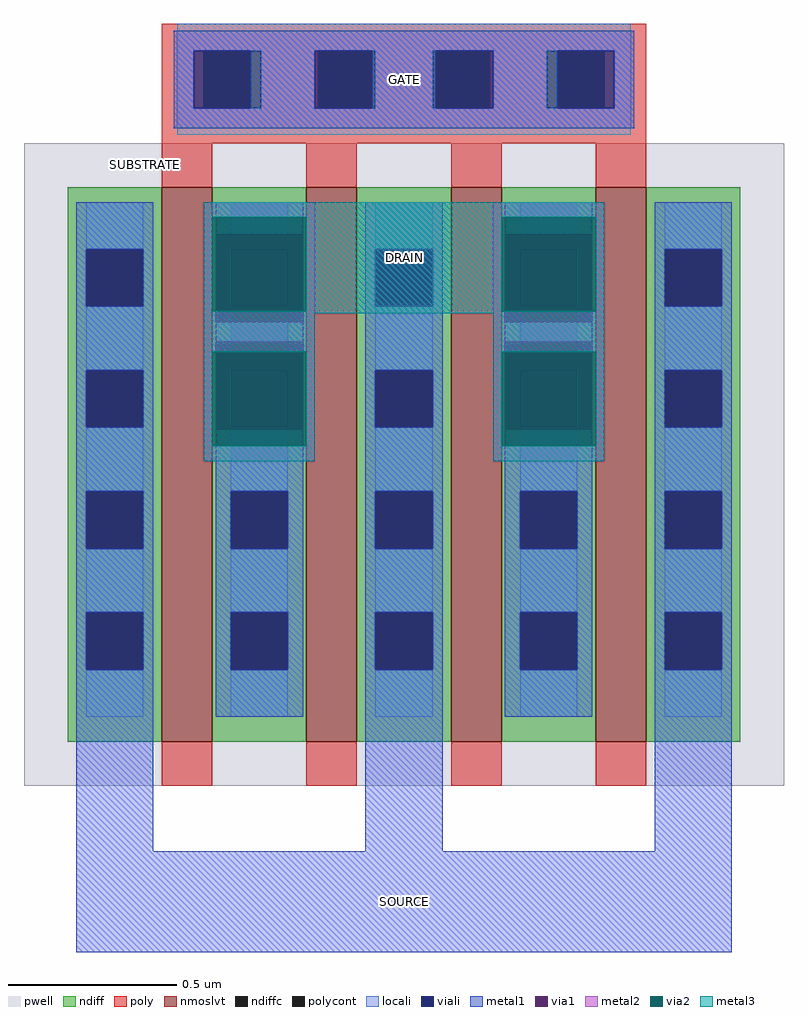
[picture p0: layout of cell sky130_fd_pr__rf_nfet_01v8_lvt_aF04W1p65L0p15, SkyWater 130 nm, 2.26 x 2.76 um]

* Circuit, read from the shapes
.subckt sky130_fd_pr__rf_nfet_01v8_lvt_aF04W1p65L0p15 DRAIN GATE SOURCE SUBSTRATE
XM1 DRAIN GATE SOURCE SUBSTRATE sky130_fd_pr__nfet_01v8_lvt w=1.65 l=0.15 m=4
.ends

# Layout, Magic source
magic
tech sky130A
magscale 1 2
<< pwell >>
rect 10 10 462 392
<< nmoslvt >>
rect 92 36 122 366
rect 178 36 208 366
rect 264 36 294 366
rect 350 36 380 366
<< ndiff >>
rect 36 329 92 366
rect 36 295 47 329
rect 81 295 92 329
rect 36 257 92 295
rect 36 223 47 257
rect 81 223 92 257
rect 36 185 92 223
rect 36 151 47 185
rect 81 151 92 185
rect 36 113 92 151
rect 36 79 47 113
rect 81 79 92 113
rect 36 36 92 79
rect 122 329 178 366
rect 122 295 133 329
rect 167 295 178 329
rect 122 257 178 295
rect 122 223 133 257
rect 167 223 178 257
rect 122 185 178 223
rect 122 151 133 185
rect 167 151 178 185
rect 122 113 178 151
rect 122 79 133 113
rect 167 79 178 113
rect 122 36 178 79
rect 208 329 264 366
rect 208 295 219 329
rect 253 295 264 329
rect 208 257 264 295
rect 208 223 219 257
rect 253 223 264 257
rect 208 185 264 223
rect 208 151 219 185
rect 253 151 264 185
rect 208 113 264 151
rect 208 79 219 113
rect 253 79 264 113
rect 208 36 264 79
rect 294 329 350 366
rect 294 295 305 329
rect 339 295 350 329
rect 294 257 350 295
rect 294 223 305 257
rect 339 223 350 257
rect 294 185 350 223
rect 294 151 305 185
rect 339 151 350 185
rect 294 113 350 151
rect 294 79 305 113
rect 339 79 350 113
rect 294 36 350 79
rect 380 329 436 366
rect 380 295 391 329
rect 425 295 436 329
rect 380 257 436 295
rect 380 223 391 257
rect 425 223 436 257
rect 380 185 436 223
rect 380 151 391 185
rect 425 151 436 185
rect 380 113 436 151
rect 380 79 391 113
rect 425 79 436 113
rect 380 36 436 79
<< ndiffc >>
rect 47 295 81 329
rect 47 223 81 257
rect 47 151 81 185
rect 47 79 81 113
rect 133 295 167 329
rect 133 223 167 257
rect 133 151 167 185
rect 133 79 167 113
rect 219 295 253 329
rect 219 223 253 257
rect 219 151 253 185
rect 219 79 253 113
rect 305 295 339 329
rect 305 223 339 257
rect 305 151 339 185
rect 305 79 339 113
rect 391 295 425 329
rect 391 223 425 257
rect 391 151 425 185
rect 391 79 425 113
<< poly >>
rect 92 447 380 463
rect 92 413 117 447
rect 151 413 185 447
rect 219 413 253 447
rect 287 413 321 447
rect 355 413 380 447
rect 92 392 380 413
rect 92 366 122 392
rect 178 366 208 392
rect 264 366 294 392
rect 350 366 380 392
rect 92 10 122 36
rect 178 10 208 36
rect 264 10 294 36
rect 350 10 380 36
<< polycont >>
rect 117 413 151 447
rect 185 413 219 447
rect 253 413 287 447
rect 321 413 355 447
<< locali >>
rect 101 447 371 463
rect 101 413 111 447
rect 151 413 183 447
rect 219 413 253 447
rect 289 413 321 447
rect 361 413 371 447
rect 101 397 371 413
rect 47 329 81 357
rect 47 257 81 295
rect 47 185 81 223
rect 47 113 81 151
rect 47 51 81 79
rect 133 329 167 357
rect 133 257 167 295
rect 133 185 167 223
rect 133 113 167 151
rect 133 51 167 79
rect 219 329 253 357
rect 219 257 253 295
rect 219 185 253 223
rect 219 113 253 151
rect 219 51 253 79
rect 305 329 339 357
rect 305 257 339 295
rect 305 185 339 223
rect 305 113 339 151
rect 305 51 339 79
rect 391 329 425 357
rect 391 257 425 295
rect 391 185 425 223
rect 391 113 425 151
rect 391 51 425 79
<< viali >>
rect 111 413 117 447
rect 117 413 145 447
rect 183 413 185 447
rect 185 413 217 447
rect 255 413 287 447
rect 287 413 289 447
rect 327 413 355 447
rect 355 413 361 447
rect 47 295 81 329
rect 47 223 81 257
rect 47 151 81 185
rect 47 79 81 113
rect 133 295 167 329
rect 133 223 167 257
rect 133 151 167 185
rect 133 79 167 113
rect 219 295 253 329
rect 219 223 253 257
rect 219 151 253 185
rect 219 79 253 113
rect 305 295 339 329
rect 305 223 339 257
rect 305 151 339 185
rect 305 79 339 113
rect 391 295 425 329
rect 391 223 425 257
rect 391 151 425 185
rect 391 79 425 113
<< metal1 >>
rect 99 447 373 459
rect 99 413 111 447
rect 145 413 183 447
rect 217 413 255 447
rect 289 413 327 447
rect 361 413 373 447
rect 99 401 373 413
rect 41 329 87 357
rect 41 295 47 329
rect 81 295 87 329
rect 41 257 87 295
rect 41 223 47 257
rect 81 223 87 257
rect 41 185 87 223
rect 41 151 47 185
rect 81 151 87 185
rect 41 113 87 151
rect 41 79 47 113
rect 81 79 87 113
rect 41 -29 87 79
rect 124 338 176 357
rect 124 274 176 286
rect 124 185 176 222
rect 124 151 133 185
rect 167 151 176 185
rect 124 113 176 151
rect 124 79 133 113
rect 167 79 176 113
rect 124 51 176 79
rect 213 329 259 357
rect 213 295 219 329
rect 253 295 259 329
rect 213 257 259 295
rect 213 223 219 257
rect 253 223 259 257
rect 213 185 259 223
rect 213 151 219 185
rect 253 151 259 185
rect 213 113 259 151
rect 213 79 219 113
rect 253 79 259 113
rect 213 -29 259 79
rect 296 338 348 357
rect 296 274 348 286
rect 296 185 348 222
rect 296 151 305 185
rect 339 151 348 185
rect 296 113 348 151
rect 296 79 305 113
rect 339 79 348 113
rect 296 51 348 79
rect 385 329 431 357
rect 385 295 391 329
rect 425 295 431 329
rect 385 257 431 295
rect 385 223 391 257
rect 425 223 431 257
rect 385 185 431 223
rect 385 151 391 185
rect 425 151 431 185
rect 385 113 431 151
rect 385 79 391 113
rect 425 79 431 113
rect 385 -29 431 79
rect 41 -89 431 -29
<< via1 >>
rect 124 329 176 338
rect 124 295 133 329
rect 133 295 167 329
rect 167 295 176 329
rect 124 286 176 295
rect 124 257 176 274
rect 124 223 133 257
rect 133 223 167 257
rect 167 223 176 257
rect 124 222 176 223
rect 296 329 348 338
rect 296 295 305 329
rect 305 295 339 329
rect 339 295 348 329
rect 296 286 348 295
rect 296 257 348 274
rect 296 223 305 257
rect 305 223 339 257
rect 339 223 348 257
rect 296 222 348 223
<< metal2 >>
rect 117 348 183 357
rect 117 292 122 348
rect 178 292 183 348
rect 117 286 124 292
rect 176 286 183 292
rect 117 274 183 286
rect 117 268 124 274
rect 176 268 183 274
rect 117 212 122 268
rect 178 212 183 268
rect 117 203 183 212
rect 289 348 355 357
rect 289 292 294 348
rect 350 292 355 348
rect 289 286 296 292
rect 348 286 355 292
rect 289 274 355 286
rect 289 268 296 274
rect 348 268 355 274
rect 289 212 294 268
rect 350 212 355 268
rect 289 203 355 212
<< via2 >>
rect 122 338 178 348
rect 122 292 124 338
rect 124 292 176 338
rect 176 292 178 338
rect 122 222 124 268
rect 124 222 176 268
rect 176 222 178 268
rect 122 212 178 222
rect 294 338 350 348
rect 294 292 296 338
rect 296 292 348 338
rect 348 292 350 338
rect 294 222 296 268
rect 296 222 348 268
rect 348 222 350 268
rect 294 212 350 222
<< metal3 >>
rect 117 348 355 357
rect 117 292 122 348
rect 178 292 294 348
rect 350 292 355 348
rect 117 291 355 292
rect 117 268 183 291
rect 117 212 122 268
rect 178 212 183 268
rect 117 203 183 212
rect 289 268 355 291
rect 289 212 294 268
rect 350 212 355 268
rect 289 203 355 212
<< labels >>
flabel metal3 s 117 291 355 357 0 FreeSans 400 0 0 0 DRAIN
port 1 nsew
flabel metal1 s 99 401 373 459 0 FreeSans 400 0 0 0 GATE
port 2 nsew
flabel metal1 s 41 -89 431 -29 0 FreeSans 400 0 0 0 SOURCE
port 3 nsew
flabel pwell s 74 370 90 389 0 FreeSans 200 0 0 0 SUBSTRATE
port 4 nsew
<< properties >>
string GDS_FILE $PDKPATH/libs.ref/sky130_fd_pr/gds/sky130_fd_pr.gds
string GDS_END 5856414
string GDS_START 5848448
string path 10.200 8.925 10.200 -2.225 
<< end >>
